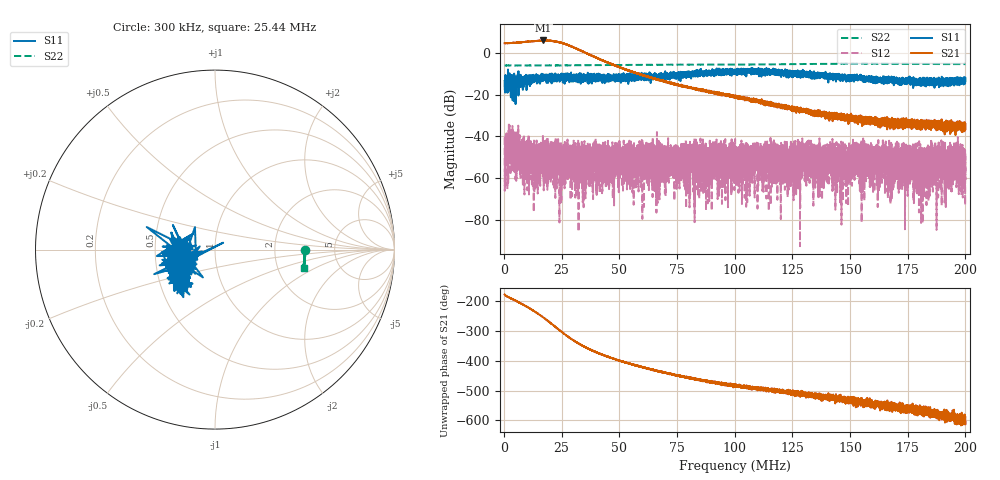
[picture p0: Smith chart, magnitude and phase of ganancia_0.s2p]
# Hz S DB R 50
! CMT, M5065, 19127446, 24.2.4/2
! Date: 11/8/2024 2:36:25 PM
! Data: Format (Calibration Info)
! Freq	S11:dB/Ang(F2)	S21:dB/Ang(F2)	S12:dB/Ang(F2)	S22:dB/Ang(F2)
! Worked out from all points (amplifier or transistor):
!   9000 points, 300 kHz to 200 MHz, reference 50 ohm
!   highest |S21| = 6.0 dB at 17.08 MHz (marker M1)
!   |S21| within 3 dB of that: start of sweep to 29.51 MHz (the widest 1 of 2)
!   unconditionally stable (mu >= 1): start of sweep to end of sweep
!   at 33.59 MHz: K = 85.27, MAG = 2.5 dB, |S12| = -48.8 dB
!   at 100.2 MHz: K = 832.81, MAG = -19.1 dB, |S12| = -47.3 dB
!   at 200 MHz: K = 6838.10, MAG = -32.4 dB, |S12| = -52.0 dB
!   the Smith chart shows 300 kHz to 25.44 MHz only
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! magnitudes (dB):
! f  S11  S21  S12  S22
! 300 kHz  -13.4  4.7  -40.5  -6.0
! 7.889 MHz  -13.0  5.1  -46.1  -6.0
! 17.08 MHz  -11.1  6.0  -44.2  -6.0
! 33.59 MHz  -12.0  1.0  -48.8  -5.9
! 66.87 MHz  -11.1  -12.9  -47.4  -5.7
! 78.64 MHz  -10.1  -16.3  -65.5  -5.6
! 85.32 MHz  -9.9  -17.6  -48.6  -5.6
! 89.15 MHz  -9.4  -18.2  -51.7  -5.6
! 100.2 MHz  -9.5  -21.0  -47.3  -5.6
! 106 MHz  -8.7  -21.8  -47.4  -5.5
! 108.8 MHz  -9.7  -22.1  -47.3  -5.5
! 113 MHz  -8.0  -24.7  -59.1  -5.5
! 133.4 MHz  -9.8  -28.5  -50.9  -5.3
! 149 MHz  -11.4  -30.3  -51.3  -5.2
! 157.2 MHz  -12.5  -33.9  -53.6  -5.2
! 162.4 MHz  -12.8  -32.4  -61.8  -5.2
! 164.1 MHz  -13.0  -32.9  -56.0  -5.2
! 166.7 MHz  -12.4  -35.3  -66.4  -5.2
! 176.3 MHz  -14.3  -33.3  -51.3  -5.3
! 180.6 MHz  -12.7  -34.7  -49.0  -5.3
! 187.9 MHz  -13.4  -33.2  -50.7  -5.3
! 200 MHz  -13.4  -34.1  -52.0  -5.4
